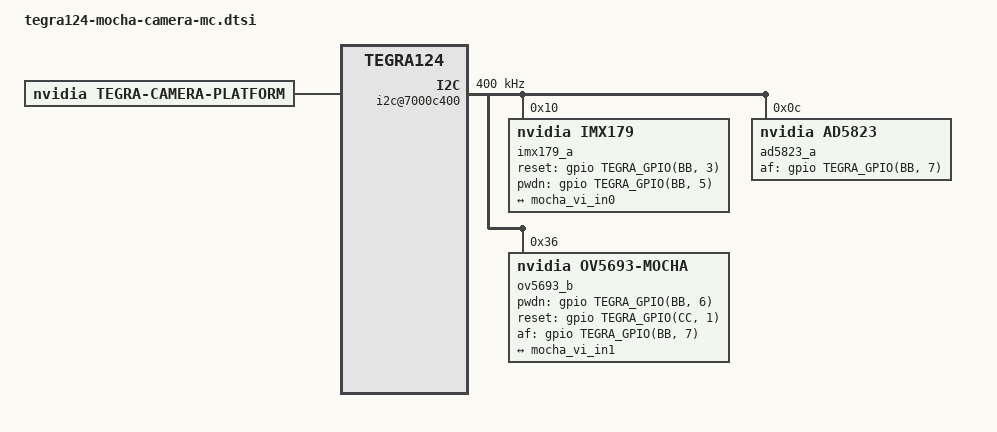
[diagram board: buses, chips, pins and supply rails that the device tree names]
/*
 * Copyright (c) 2025, Smoke Team.  All rights reserved.
 *
 * This program is free software; you can redistribute it and/or modify it
 * under the terms and conditions of the GNU General Public License,
 * version 2, as published by the Free Software Foundation.
 *
 * This program is distributed in the hope it will be useful, but WITHOUT
 * ANY WARRANTY; without even the implied warranty of MERCHANTABILITY or
 * FITNESS FOR A PARTICULAR PURPOSE.  See the GNU General Public License for
 * more details.
 *
 * Tegra124 Mocha (MiPad 1st Gen) Camera Device Tree Bindings
 * For Media Controller (MC) framework using vi.c + channel.c + ov5693.c
 *
 * Hardware Configuration:
 * - Rear: IMX179 (8MP, RGGB) on CSI-A (4-lane), MCLK1, I2C2 addr 0x10
 * - Front: OV5693 (5MP, BGGR) on CSI-B (2-lane), MCLK2, I2C2 addr 0x36
 * - Focuser: AD5823 (I2C2 addr 0x0c) - paired with IMX179
 *
 * GPIO map (from Xiaomi board-ardbeg.h / PCL DTS):
 *   CAM_RSTN    = PBB3 = 219 = TEGRA_GPIO(BB, 3) - IMX179 reset
 *   CAM1_PWDN   = PBB5 = 221 = TEGRA_GPIO(BB, 5) - IMX179 power down
 *   CAM2_PWDN   = PBB6 = 222 = TEGRA_GPIO(BB, 6) - OV5693 power down
 *   CAM_AF_PWDN = PBB7 = 223 = TEGRA_GPIO(BB, 7) - AD5823 focuser enable
 *   CAM2_RSTN   = PCC1 = 225 = TEGRA_GPIO(CC, 1) - OV5693 reset
 *
 * Regulator map (from mocha PMIC e1736):
 *   LDO4 "avdd-cam"    2.7V -> vana(IMX179), avdd_ov5693(OV5693)
 *   LDO2 "vdd-lcd-io"  1.8V -> vdig(IMX179), dvdd(OV5693), imx179_reg2
 *   LDO6 "vdd-cam-af"  1.8V -> vif(IMX179), dovdd(OV5693), vdd_i2c(AD5823)
 *   LDO7 "avdd-cam-af" 2.7V -> imx179_reg1, vdd(AD5823), vana(OV5693-AF)
 *   Fixed vdd_cam_1v8   1.8V -> Palmas GPIO1, SMPS8-derived
 *   Fixed vdd_cam_1v2   1.2V -> Palmas GPIO2, SMPS8-derived
 */

#include <dt-bindings/media/camera.h>
#include <dt-bindings/gpio/tegra-gpio.h>

/ {
	host1x {
		vi {
			/*
			 * T124 VI with MC framework support
			 * 2 channels: CSI-A (port 0) and CSI-B (port 2)
			 * See tegra_vi_get_port_info() in graph.c
			 */
			num-channels = <2>;
			status = "okay";

			ports {
				#address-cells = <1>;
				#size-cells = <0>;

				/*
				 * Channel 0: CSI-A (4-lane)
				 * Maps to VI port 0, connected to IMX179 rear sensor
				 */
				port@0 {
					reg = <0>;
					mocha_vi_in0: endpoint {
						csi-port = <0>;
						bus-width = <4>;
						remote-endpoint = <&mocha_imx179_out0>;
					};
				};

				/*
				 * Channel 1: CSI-B (2-lane)
				 * VI port reg=1, CSI port=2 (PORT_C in csi.h,
				 * first port of the second CSI brick)
				 */
				port@1 {
					reg = <1>;
					mocha_vi_in1: endpoint {
						csi-port = <2>;
						bus-width = <2>;
						remote-endpoint = <&mocha_ov5693_out0>;
					};
				};
			};
		};

		/* ISP A */
		isp@54600000 {
			status = "okay";
		};

		/* ISP B */
		isp@54680000 {
			status = "okay";
		};
	};

	/*
	 * Camera sensors on I2C2.
	 *
	 * i2c@7000c400 is a TOP-LEVEL node in tegra124-soc-base.dtsi,
	 * NOT a child of host1x. We must reference it at root level
	 * via the &i2c2 label, otherwise sensors will end up in a
	 * phantom bus node that doesn't correspond to the real I2C2
	 * adapter and will never probe.
	 */
	i2c@7000c400 {
		status = "okay";
		clock-frequency = <400000>;

		/*
		 * Rear camera: IMX179
		 * 8MP, RGGB, CSI-A 4-lane, MCLK1 (24MHz)
		 * Module: Primax
		 *
		 * Power sequence (from Xiaomi board code):
		 *   ON:  DPD off -> ext_reg1(LDO7) -> ext_reg2(1v2) ->
		 *         ext_reg3(1v8) -> avdd(LDO4) -> CAM_RSTN=1
		 *   OFF: CAM_RSTN=0 -> CAM_AF_PWDN=0 -> avdd off ->
		 *         ext_reg1..3 off -> DPD on
		 */
		imx179_a@10 {
			compatible = "nvidia,imx179";
			reg = <0x10>;
			status = "okay";

			devnode = "video0";
			physical_w = "3.674";
			physical_h = "2.738";
			sensor_model = "imx179";

			/* camera_common clock parsing: string name, not phandle */
			mclk = "mclk";
			post_crop_frame_drop = "0";

			/*
			 * Regulators (string names for camera_common_regulator_get)
			 * Matched via regulator-consumer-supply in PMIC DTS:
			 *   "vana"        -> LDO4 2.7V (device "2-0010")
			 *   "vif"         -> LDO6 1.8V (device "2-0010")
			 */
			avdd-reg = "vana";
			iovdd-reg = "vif";

			/* GPIOs */
			reset-gpios = <&gpio TEGRA_GPIO(BB, 3) GPIO_ACTIVE_HIGH>;
			pwdn-gpios = <&gpio TEGRA_GPIO(BB, 5) GPIO_ACTIVE_HIGH>;

			mode0 { /* 8MP 30fps */
				mclk_khz = "24000";
				num_lanes = "4";
				tegra_sinterface = "serial_a";
				discontinuous_clk = "no";
				dpcm_enable = "false";
				cil_settletime = "0";

				active_w = "3280";
				active_h = "2464";
				pixel_t = "bayer_rggb";
				readout_orientation = "0";
				line_length = "3440";
				inherent_gain = "1";
				mclk_multiplier = "17.0";
				pix_clk_hz = "200000000";

				min_gain_val = "1.0";
				max_gain_val = "16";
				min_hdr_ratio = "1";
				max_hdr_ratio = "64";
				min_framerate = "1.5";
				max_framerate = "30";
				min_exp_time = "34";
				max_exp_time = "683709";
				embedded_metadata_height = "0";
			};

			ports {
				#address-cells = <1>;
				#size-cells = <0>;

				port@0 {
					reg = <0>;
					mocha_imx179_out0: endpoint {
						csi-port = <0>;
						bus-width = <4>;
						remote-endpoint = <&mocha_vi_in0>;
					};
				};
			};
		};

		/*
		 * Focuser: AD5823
		 * I2C addr 0x0c, paired with IMX179 rear camera
		 *
		 * Regulators from PMIC:
		 *   "vdd"    -> LDO7 2.7V (device "2-000c")
		 *   "vdd_i2c" -> LDO6 1.8V (device "2-000c")
		 */
		ad5823_a@0c {
			compatible = "nvidia,ad5823";
			reg = <0x0c>;
			status = "okay";

			/* String names matched by regulator consumer framework */
			vdd-supply = "vdd";
			vdd-i2c-supply = "vdd_i2c";

			af-gpios = <&gpio TEGRA_GPIO(BB, 7) GPIO_ACTIVE_HIGH>;

			macro-pos = <620>;
			infinite-pos = <70>;
		};

		/*
		 * Front camera: OV5693
		 * 5MP, BGGR, CSI-B 2-lane, MCLK2 (24MHz)
		 * Module: Sunny
		 *
		 * Power sequence (from Xiaomi board code ardbeg_ov5693_power_on):
		 *   ON:  DPD_off(csie) ->
		 *         CAM2_PWDN=0, CAM2_RSTN=0, CAM_AF_PWDN=0 ->
		 *         afvdd ON  (imx179_reg1, LDO7, 2.7V) ->
		 *         avdd ON   (avdd_ov5693, LDO4, 2.7V) ->
		 *         1v8 ON    (vdd_cam_1v8, fixed, Palmas GPIO1) ->
		 *         CAM2_PWDN=1 ->
		 *         1v2 ON    (vdd_cam_1v2, fixed, Palmas GPIO2) ->
		 *         udelay(2) ->
		 *         CAM2_RSTN=1 ->
		 *         usleep(300)
		 *
		 *   OFF: CAM2_RSTN=0 -> 1v2 OFF -> 1v8 OFF ->
		 *         CAM2_PWDN=0 -> CAM_AF_PWDN=0 ->
		 *         avdd OFF -> afvdd OFF -> DPD_on(csie)
		 *
		 * Regulators:
		 *   avdd_ov5693  -> LDO4 2.7V  (analog supply)
		 *   dovdd        -> LDO6 1.8V  (digital IO supply)
		 *   dvdd         -> LDO2 1.8V  (digital core)
		 *   vdd_cam_1v8  -> fixed 1.8V (Palmas GPIO1)
		 *   vdd_cam_1v2  -> fixed 1.2V (Palmas GPIO2)
		 *   imx179_reg1  -> LDO7 2.7V  (shared AF supply)
		 *
		 * Note: The stock Xiaomi board code uses 4 regulators in
		 * power_on plus an additional "afvdd" from imx179_reg1.
		 * The generic ov5693.c only handles avdd + iovdd.
		 * A mocha-specific driver is needed.
		 */
		ov5693_b@36 {
			compatible = "nvidia,ov5693-mocha";
			reg = <0x36>;
			status = "okay";

			devnode = "video1";
			physical_w = "3.674";
			physical_h = "2.738";
			sensor_model = "ov5693";

			/* camera_common clock parsing: string name, not phandle */
			mclk = "mclk2";
			post_crop_frame_drop = "0";

			/*
			 * Regulators (string names for camera_common_regulator_get)
			 * Matched via regulator-consumer-supply in PMIC DTS:
			 *   "avdd_ov5693" -> LDO4 2.7V (device "2-0036")
			 *   "dovdd"       -> LDO6 1.8V (device "2-0036")
			 */
			avdd-reg = "avdd_ov5693";
			iovdd-reg = "dovdd";

			/* Mocha extra regulators */
			dvdd-reg = "vdd_cam_1v2";
			vcmvdd-reg = "vdd_cam_1v8";
			afvdd-reg = "imx179_reg1";

			/*
			 * GPIOs:
			 *   CAM2_PWDN  = PBB6 = 222 (power down, active high)
			 *   CAM2_RSTN  = PCC1 = 225 (reset, active high)
			 *   CAM_AF_PWDN = PBB7 = 223 (shared AF enable)
			 */
			pwdn-gpios = <&gpio TEGRA_GPIO(BB, 6) GPIO_ACTIVE_HIGH>;
			reset-gpios = <&gpio TEGRA_GPIO(CC, 1) GPIO_ACTIVE_HIGH>;
			af-gpios = <&gpio TEGRA_GPIO(BB, 7) GPIO_ACTIVE_HIGH>;

			mode0 { /* 5MP 30fps */
				mclk_khz = "24000";
				num_lanes = "2";
				tegra_sinterface = "serial_b";
				discontinuous_clk = "no";
				dpcm_enable = "false";
				cil_settletime = "0";

				active_w = "2592";
				active_h = "1944";
				pixel_t = "bayer_bggr";
				readout_orientation = "180";
				line_length = "2688";
				inherent_gain = "1";
				mclk_multiplier = "17.0";
				pix_clk_hz = "160000000";

				min_gain_val = "1.0";
				max_gain_val = "16";
				min_hdr_ratio = "1";
				max_hdr_ratio = "64";
				min_framerate = "1.8";
				max_framerate = "30";
				min_exp_time = "34";
				max_exp_time = "550385";
				embedded_metadata_height = "0";
			};

			mode1 { /* 720p 60fps (2-lane CSI-B, reduced from 120fps) */
				mclk_khz = "24000";
				num_lanes = "2";
				tegra_sinterface = "serial_b";
				discontinuous_clk = "no";
				dpcm_enable = "false";
				cil_settletime = "0";

				active_w = "1280";
				active_h = "720";
				pixel_t = "bayer_bggr";
				readout_orientation = "180";
				line_length = "1752";
				inherent_gain = "1";
				mclk_multiplier = "17.0";
				pix_clk_hz = "160000000";

				min_gain_val = "1.0";
				max_gain_val = "16";
				min_hdr_ratio = "1";
				max_hdr_ratio = "64";
				min_framerate = "2.8";
				max_framerate = "60";
				min_exp_time = "22";
				max_exp_time = "358733";
				embedded_metadata_height = "0";
			};

			ports {
				#address-cells = <1>;
				#size-cells = <0>;

				port@0 {
					reg = <0>;
					mocha_ov5693_out0: endpoint {
						csi-port = <2>;
						bus-width = <2>;
						remote-endpoint = <&mocha_vi_in1>;
					};
				};
			};
		};
	};

	/*
	 * tegra-camera-platform: bandwidth management (isomgr)
	 * proc-device-tree paths match the REAL node locations:
	 * sensors are under root i2c@7000c400, NOT under host1x.
	 */
	tegra-camera-platform {
		compatible = "nvidia,tegra-camera-platform";

		modules {
			module0 {
				badge = "mocha_rear_P5V27C";
				position = "rear";
				orientation = "0";
				drivernode0 {
					pcl_id = "v4l2_sensor";
					proc-device-tree = "/proc/device-tree/i2c@7000c400/imx179_a@10";
				};
				drivernode1 {
					pcl_id = "v4l2_focuser";
					proc-device-tree = "/proc/device-tree/i2c@7000c400/ad5823_a@0c";
				};
			};

			module1 {
				badge = "mocha_front_P5V27C";
				position = "front";
				orientation = "1";
				drivernode0 {
					pcl_id = "v4l2_sensor";
					proc-device-tree = "/proc/device-tree/i2c@7000c400/ov5693_b@36";
				};
			};
		};
	};
};
